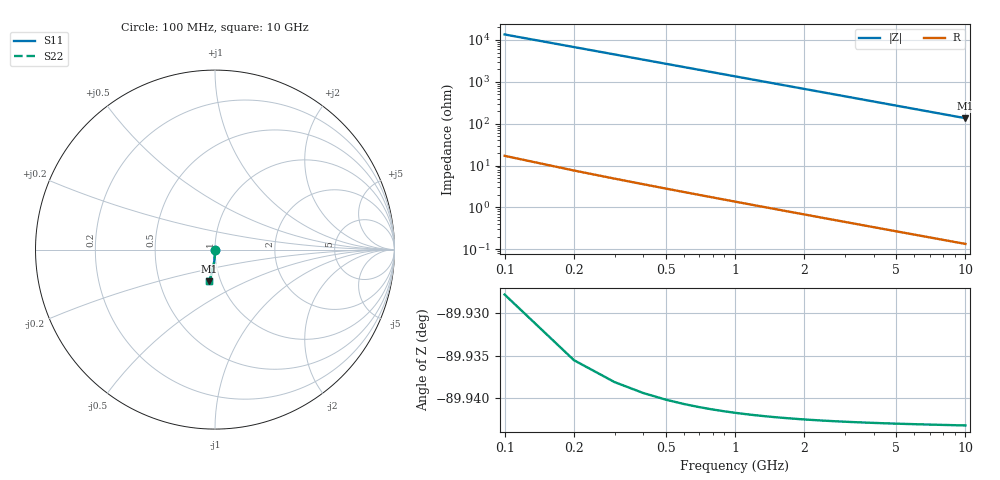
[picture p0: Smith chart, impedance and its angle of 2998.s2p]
# Hz S RI R 50.00
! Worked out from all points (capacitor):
!   100 points, 100 MHz to 10 GHz, reference 50 ohm
!   read as one part in shunt: C = 117 fF near 100 MHz
!   lowest |Z| = 136 ohm at 10 GHz (marker M1)
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1e8  1.1e-05 -0.00182  1 -0.00186  1 -0.00186  1.1e-05 -0.00182
2e8  -9.55e-07 -0.00365  1 -0.00373  1 -0.00373  -9.55e-07 -0.00365
3e8  -1.97e-05 -0.00547  0.9999 -0.00559  0.9999 -0.00559  -1.97e-05 -0.00547
4e8  -4.52e-05 -0.0073  0.9999 -0.00745  0.9999 -0.00745  -4.52e-05 -0.0073
5e8  -7.76e-05 -0.00912  0.9999 -0.00931  0.9999 -0.00931  -7.76e-05 -0.00912
6e8  -0.000117 -0.0109  0.9998 -0.0112  0.9998 -0.0112  -0.000117 -0.0109
7e8  -0.000163 -0.0128  0.9998 -0.013  0.9998 -0.013  -0.000163 -0.0128
8e8  -0.000215 -0.0146  0.9998 -0.0149  0.9998 -0.0149  -0.000215 -0.0146
9e8  -0.000275 -0.0164  0.9997 -0.0168  0.9997 -0.0168  -0.000275 -0.0164
1.1e9  -0.000414 -0.0201  0.9996 -0.0205  0.9996 -0.0205  -0.000414 -0.0201
1.4e9  -0.000674 -0.0255  0.9993 -0.0261  0.9993 -0.0261  -0.000674 -0.0255
1.8e9  -0.00112 -0.0328  0.9988 -0.0335  0.9988 -0.0335  -0.00112 -0.0328
2.1e9  -0.00152 -0.0383  0.9984 -0.0391  0.9984 -0.0391  -0.00152 -0.0383
2.5e9  -0.00215 -0.0455  0.9978 -0.0465  0.9978 -0.0465  -0.00215 -0.0455
2.9e9  -0.00289 -0.0527  0.9971 -0.0539  0.9971 -0.0539  -0.00289 -0.0527
3.4e9  -0.00396 -0.0618  0.996 -0.0631  0.996 -0.0631  -0.00396 -0.0618
4.2e9  -0.00602 -0.0761  0.9939 -0.0778  0.9939 -0.0778  -0.00602 -0.0761
5.1e9  -0.00883 -0.0922  0.9911 -0.0942  0.9911 -0.0942  -0.00883 -0.0922
5.9e9  -0.0118 -0.1063  0.9882 -0.1086  0.9882 -0.1086  -0.0118 -0.1063
6.7e9  -0.0151 -0.1203  0.9848 -0.1229  0.9848 -0.1229  -0.0151 -0.1203
8.4e9  -0.0235 -0.1496  0.9764 -0.1528  0.9764 -0.1528  -0.0235 -0.1496
1e10  -0.033 -0.1763  0.9669 -0.1802  0.9669 -0.1802  -0.033 -0.1763
